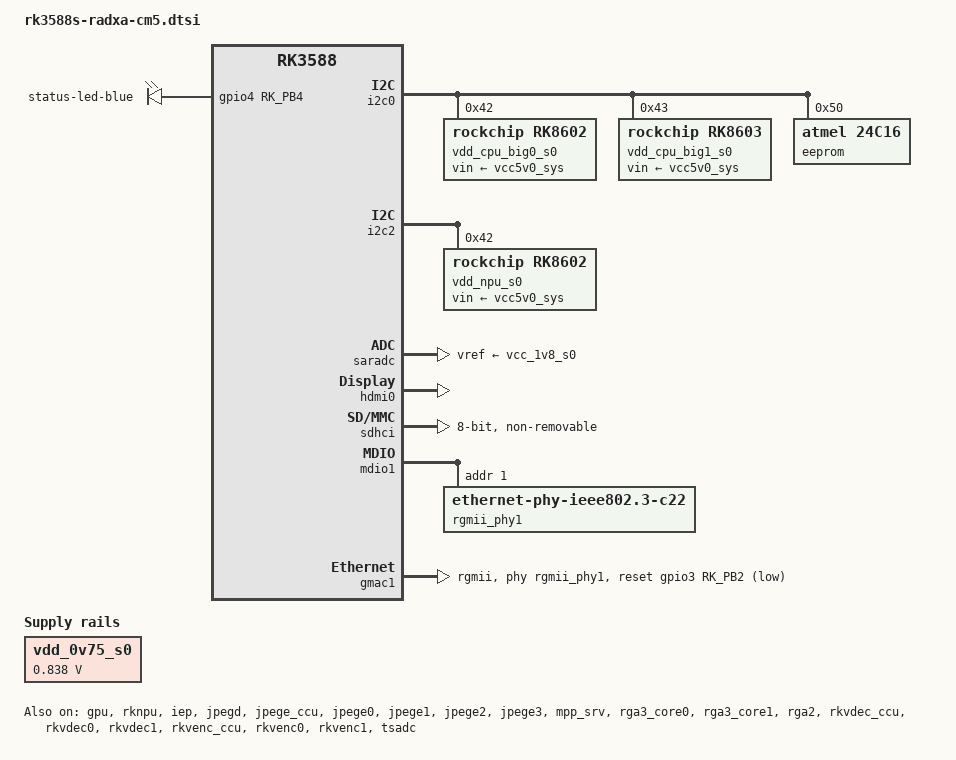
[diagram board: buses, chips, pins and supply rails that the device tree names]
// SPDX-License-Identifier: (GPL-2.0+ OR MIT)
/*
 * Copyright (c) 2023 Rockchip Electronics Co., Ltd.
 * Copyright (c) 2023 Radxa Limited
 *
 */

/dts-v1/;

#include <dt-bindings/gpio/gpio.h>
#include <dt-bindings/pwm/pwm.h>
#include <dt-bindings/pinctrl/rockchip.h>
#include <dt-bindings/input/rk-input.h>
#include <dt-bindings/display/drm_mipi_dsi.h>
#include <dt-bindings/display/rockchip_vop.h>
#include <dt-bindings/sensor-dev.h>
#include "dt-bindings/usb/pd.h"
#include "rk3588s.dtsi"
#include "rk3588-rk806-single.dtsi"
#include "rk3588-linux.dtsi"

/ {
	compatible = "radxa,cm5", "rockchip,rk3588";

	aliases {
		mmc0 = &sdhci;
		mmc1 = &sdmmc;
		mmc2 = &sdio;
	};

	gpio_leds: gpio-leds {
		compatible = "gpio-leds";
		pinctrl-names = "default";

		status-led-blue {
			gpios = <&gpio4 RK_PB4 GPIO_ACTIVE_HIGH>;
			linux,default-trigger = "heartbeat";
			default-state = "on";
		};
	};
};

&i2c0 {
	status = "okay";
	pinctrl-names = "default";
	pinctrl-0 = <&i2c0m2_xfer>;

	vdd_cpu_big0_s0: vdd_cpu_big0_mem_s0: rk8602@42 {
		compatible = "rockchip,rk8602";
		reg = <0x42>;
		vin-supply = <&vcc5v0_sys>;
		regulator-compatible = "rk860x-reg";
		regulator-name = "vdd_cpu_big0_s0";
		regulator-min-microvolt = <550000>;
		regulator-max-microvolt = <1050000>;
		regulator-ramp-delay = <2300>;
		rockchip,suspend-voltage-selector = <1>;
		regulator-boot-on;
		regulator-always-on;
		regulator-state-mem {
			regulator-off-in-suspend;
		};
	};

	vdd_cpu_big1_s0: vdd_cpu_big1_mem_s0: rk8603@43 {
		compatible = "rockchip,rk8603";
		reg = <0x43>;
		vin-supply = <&vcc5v0_sys>;
		regulator-compatible = "rk860x-reg";
		regulator-name = "vdd_cpu_big1_s0";
		regulator-min-microvolt = <550000>;
		regulator-max-microvolt = <1050000>;
		regulator-ramp-delay = <2300>;
		rockchip,suspend-voltage-selector = <1>;
		regulator-boot-on;
		regulator-always-on;
		regulator-state-mem {
			regulator-off-in-suspend;
		};
	};

	eeprom:	at24c16@50 {
		status = "okay";
		compatible = "atmel,24c16";
		reg = <0x50>;
		pagesize = <16>;
	};
};

&i2c2 {
	status = "okay";
	pinctrl-names = "default";
	pinctrl-0 = <&i2c2m0_xfer>;

	vdd_npu_s0: vdd_npu_mem_s0: rk8602@42 {
		compatible = "rockchip,rk8602";
		reg = <0x42>;
		vin-supply = <&vcc5v0_sys>;
		regulator-compatible = "rk860x-reg";
		regulator-name = "vdd_npu_s0";
		regulator-min-microvolt = <550000>;
		regulator-max-microvolt = <950000>;
		regulator-ramp-delay = <2300>;
		rockchip,suspend-voltage-selector = <1>;
		regulator-boot-on;
		regulator-always-on;
		regulator-state-mem {
			regulator-off-in-suspend;
		};
	};
};

&cpu_l0 {
	cpu-supply = <&vdd_cpu_lit_s0>;
	mem-supply = <&vdd_cpu_lit_mem_s0>;
};

&cpu_b0 {
	cpu-supply = <&vdd_cpu_big0_s0>;
	mem-supply = <&vdd_cpu_big0_mem_s0>;
};

&cpu_b2 {
	cpu-supply = <&vdd_cpu_big1_s0>;
	mem-supply = <&vdd_cpu_big1_mem_s0>;
};

&gpu {
	mali-supply = <&vdd_gpu_s0>;
	mem-supply = <&vdd_gpu_mem_s0>;
	status = "okay";
};

&rknpu {
	rknpu-supply = <&vdd_npu_s0>;
	mem-supply = <&vdd_npu_mem_s0>;
	status = "okay";
};

&rknpu_mmu {
	status = "okay";
};

&iep {
	status = "okay";
};

&iep_mmu {
	status = "okay";
};

&jpegd {
	status = "okay";
};

&jpegd_mmu {
	status = "okay";
};

&jpege_ccu {
	status = "okay";
};

&jpege0 {
	status = "okay";
};

&jpege0_mmu {
	status = "okay";
};

&jpege1 {
	status = "okay";
};

&jpege1_mmu {
	status = "okay";
};

&jpege2 {
	status = "okay";
};

&jpege2_mmu {
	status = "okay";
};

&jpege3 {
	status = "okay";
};

&jpege3_mmu {
	status = "okay";
};

&mpp_srv {
	status = "okay";
};

&rga3_core0 {
	status = "okay";
};

&rga3_0_mmu {
	status = "okay";
};

&rga3_core1 {
	status = "okay";
};

&rga3_1_mmu {
	status = "okay";
};

&rga2 {
	status = "okay";
};

&rkvdec_ccu {
	status = "okay";
};

&rkvdec0 {
	status = "okay";
};

&rkvdec0_mmu {
	status = "okay";
};

&rkvdec1 {
	status = "okay";
};

&rkvdec1_mmu {
	status = "okay";
};

&rkvenc_ccu {
	status = "okay";
};

&rkvenc0 {
	status = "okay";
};

&rkvenc0_mmu {
	status = "okay";
};

&rkvenc1 {
	status = "okay";
};

&rkvenc1_mmu {
	status = "okay";
};

&saradc {
	status = "okay";
	vref-supply = <&vcc_1v8_s0>;
};

&tsadc {
	status = "okay";
};

&hdmi0 {
	status = "okay";
        cec-enable = "true";
};

&sdhci {
	bus-width = <8>;
	non-removable;
	max-frequency = <150000000>;
	mmc-hs200-1_8v;
};

&mdio1 {
	rgmii_phy1: phy@1 {
		compatible = "ethernet-phy-ieee802.3-c22";
		reg = <0x1>;
	};
};

&gmac1 {
	phy-mode = "rgmii";
	clock_in_out = "output";

	snps,reset-gpio = <&gpio3 RK_PB2 GPIO_ACTIVE_LOW>;
	snps,reset-active-low;
	// Reset time is 20ms, 100ms for rtl8211f
	snps,reset-delays-us = <0 20000 100000>;

	pinctrl-names = "default";
	pinctrl-0 = <&gmac1_miim
		     &gmac1_tx_bus2
		     &gmac1_rx_bus2
		     &gmac1_rgmii_clk
		     &gmac1_rgmii_bus>;

	tx_delay = <0x41>;
	rx_delay = <0x3a>;

	phy-handle = <&rgmii_phy1>;
	status = "okay";
};

&rockchip_suspend {
	compatible = "rockchip,pm-rk3588";
	status = "okay";
	rockchip,sleep-debug-en = <1>;
	rockchip,sleep-mode-config = <
		(0
		| RKPM_SLP_ARMOFF_DDRPD
		)
	>;
	rockchip,wakeup-config = <
		(0
		| RKPM_GPIO_WKUP_EN
		| RKPM_USB_WKUP_EN
		)
	>;
};

&avdd_0v75_s0 {
	regulator-state-mem {
		regulator-on-in-suspend;
		regulator-suspend-microvolt = <837500>;
	};
};

&avcc_1v8_s0 {
	regulator-state-mem {
		regulator-on-in-suspend;
		regulator-suspend-microvolt = <1800000>;
	};
};

&vcc_1v8_s0 {
	regulator-state-mem {
		regulator-on-in-suspend;
		regulator-suspend-microvolt = <1800000>;
	};
};

&vcc_3v3_s0 {
	regulator-state-mem {
		regulator-on-in-suspend;
		regulator-suspend-microvolt = <3300000>;
	};
};

&vdd_log_s0 {
	regulator-state-mem {
		regulator-on-in-suspend;
		regulator-suspend-microvolt = <750000>;
	};
};

&vdd_ddr_pll_s0 {
	regulator-state-mem {
		regulator-on-in-suspend;
		regulator-suspend-microvolt = <850000>;
	};
};

&vdd_0v75_s0 {
	regulator-min-microvolt = <837500>;
	regulator-max-microvolt = <837500>;
};
